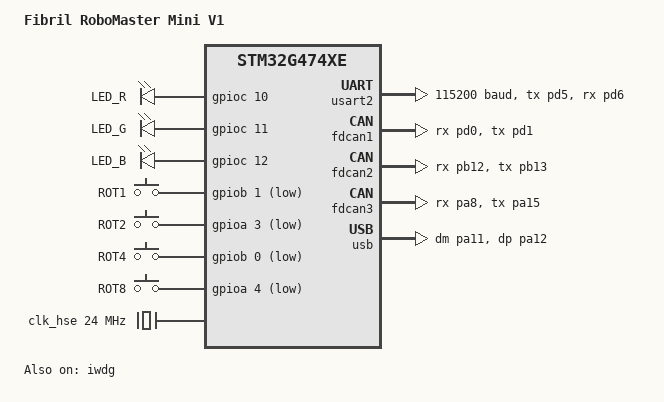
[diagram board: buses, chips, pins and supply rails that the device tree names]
/*
 * Copyright (c) 2026
 *
 * SPDX-License-Identifier: Apache-2.0
 */

/dts-v1/;
#include <st/g4/stm32g474Xe.dtsi>
#include "robomaster_miniv1-pinctrl.dtsi"
#include <zephyr/dt-bindings/input/input-event-codes.h>

/ {
	model = "Fibril RoboMaster Mini V1";
	compatible = "fibril,robomaster-miniv1";

	chosen {
		zephyr,console = &usart2;
		zephyr,shell-uart = &usart2;
		zephyr,sram = &sram0;
		zephyr,flash = &flash0;
		zephyr,canbus = &fdcan1;
	};

	aliases {
		led0 = &red_led;
		led1 = &green_led;
		led2 = &blue_led;
		sw0 = &rotary_1;
		sw1 = &rotary_2;
		sw2 = &rotary_4;
		sw3 = &rotary_8;
		watchdog0 = &iwdg;
	};

	leds {
		compatible = "gpio-leds";

		red_led: led_r {
			gpios = <&gpioc 10 GPIO_ACTIVE_HIGH>;
			label = "LED_R";
		};

		green_led: led_g {
			gpios = <&gpioc 11 GPIO_ACTIVE_HIGH>;
			label = "LED_G";
		};

		blue_led: led_b {
			gpios = <&gpioc 12 GPIO_ACTIVE_HIGH>;
			label = "LED_B";
		};
	};

	rotary_switch: rotary_switch {
		compatible = "gpio-keys";

		rotary_1: rotary_1 {
			label = "ROT1";
			gpios = <&gpiob 1 (GPIO_ACTIVE_LOW | GPIO_PULL_UP)>;
			zephyr,code = <INPUT_KEY_1>;
		};

		rotary_2: rotary_2 {
			label = "ROT2";
			gpios = <&gpioa 3 (GPIO_ACTIVE_LOW | GPIO_PULL_UP)>;
			zephyr,code = <INPUT_KEY_2>;
		};

		rotary_4: rotary_4 {
			label = "ROT4";
			gpios = <&gpiob 0 (GPIO_ACTIVE_LOW | GPIO_PULL_UP)>;
			zephyr,code = <INPUT_KEY_3>;
		};

		rotary_8: rotary_8 {
			label = "ROT8";
			gpios = <&gpioa 4 (GPIO_ACTIVE_LOW | GPIO_PULL_UP)>;
			zephyr,code = <INPUT_KEY_4>;
		};
	};

	gs_usb0: gs_usb0 {
		compatible = "gs_usb";
		label = "gs_usb";
	};

	cannectivity: cannectivity {
		compatible = "cannectivity";

		channel0 {
			compatible = "cannectivity-channel";
			can-controller = <&fdcan1>;
		};
	};

	robomaster_controller: robomaster-controller {
		compatible = "dji,robomaster";
		#address-cells = <1>;
		#size-cells = <0>;
		cans = <&fdcan2 &fdcan3>;
		feedback-timeout-ms = <100>;

		motor_1: motor@1 {
			compatible = "dji,robomaster-motor";
			reg = <1>;
			model = "c620";
			max-current = <10000>;
		};

		motor_2: motor@2 {
			compatible = "dji,robomaster-motor";
			reg = <2>;
			model = "c620";
			max-current = <10000>;
		};

		motor_3: motor@3 {
			compatible = "dji,robomaster-motor";
			reg = <3>;
			model = "c620";
			max-current = <10000>;
		};

		motor_4: motor@4 {
			compatible = "dji,robomaster-motor";
			reg = <4>;
			model = "c620";
			max-current = <10000>;
		};

		motor_5: motor@5 {
			compatible = "dji,robomaster-motor";
			reg = <5>;
			can-bus = <1>;
			model = "c620";
			max-current = <10000>;
		};

		motor_6: motor@6 {
			compatible = "dji,robomaster-motor";
			reg = <6>;
			can-bus = <1>;
			model = "c620";
			max-current = <10000>;
		};

		motor_7: motor@7 {
			compatible = "dji,robomaster-motor";
			reg = <7>;
			can-bus = <1>;
			model = "c620";
			max-current = <10000>;
		};

		motor_8: motor@8 {
			compatible = "dji,robomaster-motor";
			reg = <8>;
			can-bus = <1>;
			model = "c620";
			max-current = <10000>;
		};
	};
};

&clk_lsi {
	status = "okay";
};

&clk_hsi48 {
	status = "okay";
};

&clk_hse {
	clock-frequency = <DT_FREQ_M(24)>;
	status = "okay";
};

&pll {
	div-m = <6>;
	mul-n = <80>;
	div-p = <8>;
	div-q = <2>;
	div-r = <2>;
	clocks = <&clk_hse>;
	status = "okay";
};

&rcc {
	clocks = <&pll>;
	clock-frequency = <DT_FREQ_M(160)>;
	ahb-prescaler = <1>;
	apb1-prescaler = <1>;
	apb2-prescaler = <1>;
};

&usart2 {
	pinctrl-0 = <&usart2_tx_pd5 &usart2_rx_pd6>;
	pinctrl-names = "default";
	current-speed = <115200>;
	status = "okay";
};

&fdcan1 {
	clocks = <&rcc STM32_CLOCK(APB1, 25)>,
		 <&rcc STM32_SRC_HSE FDCAN_SEL(0)>;
	pinctrl-0 = <&fdcan1_rx_pd0 &fdcan1_tx_pd1>;
	pinctrl-names = "default";
	status = "okay";
};

&fdcan2 {
	clocks = <&rcc STM32_CLOCK(APB1, 25)>,
		 <&rcc STM32_SRC_HSE FDCAN_SEL(0)>;
	pinctrl-0 = <&fdcan2_rx_pb12 &fdcan2_tx_pb13>;
	pinctrl-names = "default";
	status = "okay";
};

&fdcan3 {
	clocks = <&rcc STM32_CLOCK(APB1, 25)>,
		 <&rcc STM32_SRC_HSE FDCAN_SEL(0)>;
	pinctrl-0 = <&fdcan3_rx_pa8 &fdcan3_tx_pa15>;
	pinctrl-names = "default";
	status = "okay";
};

&iwdg {
	status = "okay";
};

zephyr_udc0: &usb {
	pinctrl-0 = <&usb_dm_pa11 &usb_dp_pa12>;
	pinctrl-names = "default";
	status = "okay";
};
